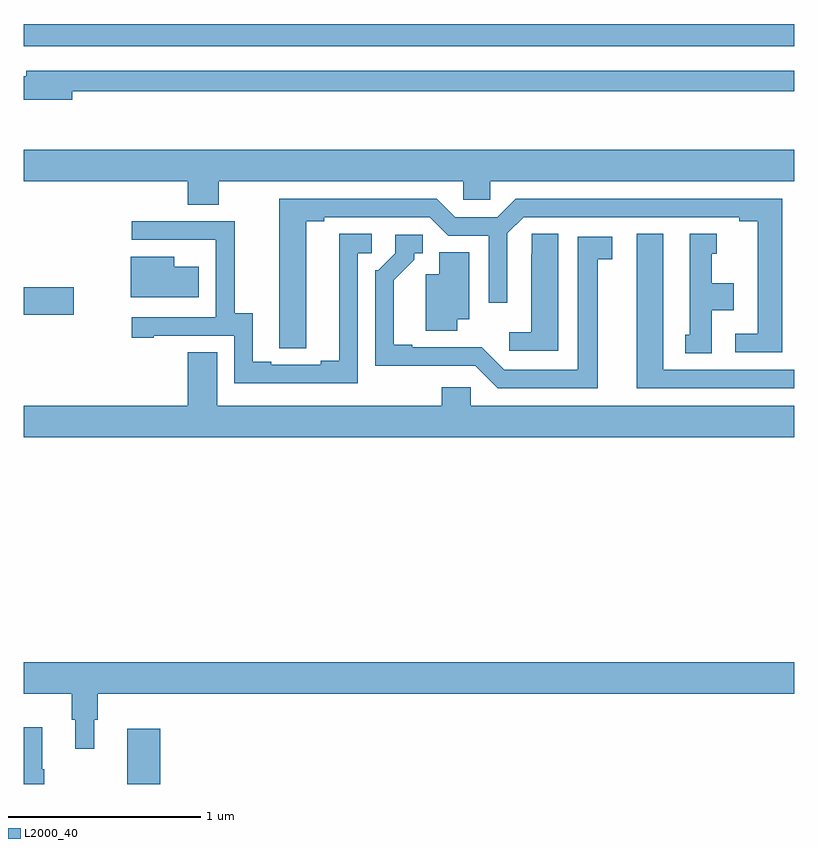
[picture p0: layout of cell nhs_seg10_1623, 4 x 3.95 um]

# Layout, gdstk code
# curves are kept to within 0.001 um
import gdstk
lib = gdstk.Library(unit=1e-6, precision=1e-09)
def R(c, l, rs):  # rectangles x0, y0, x1, y1
    for r in rs: c.add(gdstk.rectangle(r[:2], r[2:], *l))
def P(c, l, *ps):  # polygons
    for p in ps: c.add(gdstk.Polygon(p, *l))
L2000_40 = (2000, 40)

nhs_seg10_1623 = lib.new_cell('nhs_seg10_1623')
R(nhs_seg10_1623, L2000_40, [(195.536,1314.5,195.707,1314.787), (195,1316.938,195.259,1317.08), (195,1318.332,199,1318.448)])
P(nhs_seg10_1623, L2000_40, [(195.25,1318.098),(199,1318.098),(199,1318.206),(195.011,1318.206),(195.011,1318.177),(195,1318.177),(195,1318.055),(195.25,1318.055)],
  [(196.011,1317.632),(197.283,1317.632),(197.283,1317.534),(197.421,1317.534),(197.421,1317.632),(199,1317.632),(199,1317.796),(195,1317.796),(195,1317.632),(195.851,1317.632),(195.851,1317.508),(196.011,1317.508)],
  [(198.94,1317.54),(197.555,1317.54),(197.459,1317.444),(197.241,1317.444),(197.145,1317.54),(196.325,1317.54),(196.326,1316.764),(196.465,1316.764),(196.465,1317.424),(196.561,1317.424),(196.561,1317.444),(197.109,1317.444),(197.205,1317.348),(197.415,1317.348),(197.415,1317),(197.511,1317),(197.511,1317.36),(197.595,1317.444),(198.716,1317.444),(198.716,1317.424),(198.812,1317.424),(198.812,1316.838),(198.696,1316.838),(198.696,1316.742),(198.94,1316.742)],
  [(196.734,1317.258),(196.807,1317.258),(196.807,1317.359),(196.637,1317.359),(196.637,1316.699),(196.541,1316.699),(196.541,1316.679),(196.285,1316.679),(196.285,1316.694),(196.189,1316.694),(196.189,1316.945),(196.095,1316.945),(196.095,1317.423),(195.561,1317.423),(195.561,1317.327),(195.995,1317.327),(195.995,1317.326),(195.996,1317.326),(195.996,1316.925),(195.561,1316.925),(195.561,1316.817),(195.673,1316.817),(195.673,1316.829),(196.092,1316.829),(196.092,1316.583),(196.734,1316.583)],
  [(197.776,1317.359),(197.637,1317.359),(197.637,1317.251),(197.636,1317.251),(197.636,1316.848),(197.52,1316.848),(197.52,1316.751),(197.776,1316.751)],
  [(199,1316.652),(198.322,1316.652),(198.322,1317.358),(198.182,1317.358),(198.182,1316.556),(199,1316.556)],
  [(198.574,1316.96),(198.688,1316.96),(198.688,1317.1),(198.574,1317.1),(198.574,1317.255),(198.598,1317.255),(198.598,1317.358),(198.458,1317.358),(198.458,1316.835),(198.434,1316.835),(198.434,1316.737),(198.574,1316.737)],
  [(197.98,1317.226),(198.055,1317.226),(198.055,1317.342),(197.876,1317.342),(197.876,1316.652),(197.496,1316.652),(197.378,1316.77),(197.017,1316.769),(197.017,1316.782),(196.921,1316.782),(196.921,1317.118),(197.026,1317.223),(197.026,1317.258),(197.071,1317.258),(197.071,1317.354),(196.929,1317.354),(196.929,1317.258),(196.839,1317.168),(196.824,1317.168),(196.824,1316.672),(197.343,1316.673),(197.46,1316.556),(197.98,1316.556)],
  [(197.251,1316.915),(197.314,1316.915),(197.314,1317.263),(197.156,1317.263),(197.156,1317.148),(197.087,1317.148),(197.087,1316.854),(197.251,1316.854)],
  [(195.907,1317.187),(195.781,1317.187),(195.781,1317.238),(195.554,1317.238),(195.554,1317.029),(195.907,1317.029)],
  [(199,1316.464),(197.322,1316.464),(197.322,1316.562),(197.171,1316.562),(197.171,1316.464),(196.003,1316.464),(196.003,1316.744),(195.851,1316.744),(195.851,1316.464),(195,1316.464),(195,1316.3),(199,1316.3)],
  [(195.364,1314.834),(195.383,1314.834),(195.383,1314.968),(199,1314.968),(199,1315.132),(195,1315.132),(195,1314.968),(195.247,1314.968),(195.247,1314.834),(195.266,1314.834),(195.266,1314.684),(195.364,1314.684)],
  [(195.106,1314.576),(195.094,1314.576),(195.094,1314.796),(195,1314.796),(195,1314.5),(195.106,1314.5)])

lib.write_gds('nhs_seg10_1623.gds')
